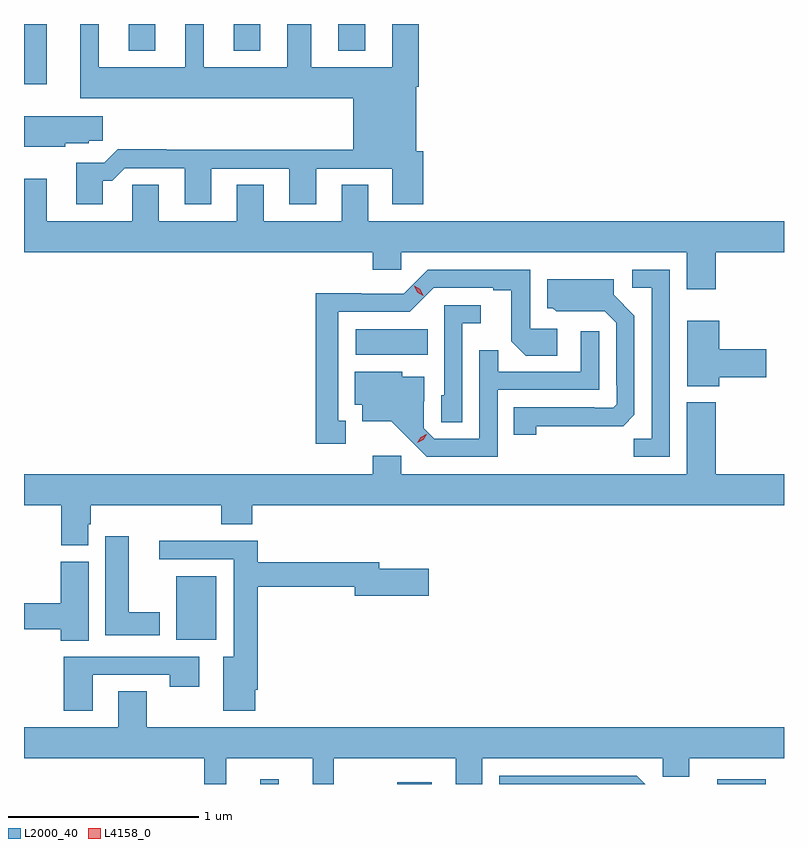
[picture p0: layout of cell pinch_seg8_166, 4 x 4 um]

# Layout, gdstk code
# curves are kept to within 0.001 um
import gdstk
lib = gdstk.Library(unit=1e-6, precision=1e-09)
def R(c, l, rs):  # rectangles x0, y0, x1, y1
    for r in rs: c.add(gdstk.rectangle(r[:2], r[2:], *l))
def A(c, l, x, y, w, h, nx, ny, dx, dy):  # array of equal rectangles
    R(c, l, [(x+i*dx, y+j*dy, x+i*dx+w, y+j*dy+h) for i in range(nx) for j in range(ny)])
def P(c, l, *ps):  # polygons
    for p in ps: c.add(gdstk.Polygon(p, *l))
L2000_40 = (2000, 40)
L4158_0 = (4158, 0)

pinch_seg8_166 = lib.new_cell('pinch_seg8_166')
A(pinch_seg8_166, L2000_40, 707.831, 1158.851, 0.14, 0.142, 3, 1, 0.552, 0)
R(pinch_seg8_166, L2000_40, [(708.524,1154.993,708.621,1155.019), (709.245,1154.993,709.426,1155.001), (710.928,1154.993,711.185,1155.018), (708.08,1155.752,708.292,1156.087), (709.026,1157.252,709.406,1157.386), (707.28,1158.675,707.401,1158.993)])
P(pinch_seg8_166, L2000_40, [(707.695,1158.167),(707.744,1158.167),(707.811,1158.234),(708.125,1158.234),(708.125,1158.045),(708.265,1158.045),(708.265,1158.231),(708.677,1158.231),(708.677,1158.045),(708.817,1158.045),(708.817,1158.231),(709.217,1158.231),(709.217,1158.045),(709.382,1158.045),(709.382,1158.324),(709.345,1158.324),(709.345,1158.662),(709.358,1158.662),(709.358,1158.993),(709.217,1158.993),(709.217,1158.766),(708.793,1158.766),(708.793,1158.993),(708.665,1158.993),(708.665,1158.766),(708.226,1158.766),(708.226,1158.993),(708.128,1158.993),(708.128,1158.766),(707.674,1158.766),(707.674,1158.993),(707.576,1158.993),(707.576,1158.602),(709.013,1158.602),(709.013,1158.332),(708.029,1158.332),(708.029,1158.335),(707.774,1158.335),(707.703,1158.264),(707.555,1158.264),(707.555,1158.045),(707.695,1158.045)],
  [(707.496,1158.365),(707.622,1158.365),(707.622,1158.379),(707.695,1158.379),(707.695,1158.508),(707.28,1158.508),(707.28,1158.347),(707.496,1158.347)],
  [(710.921,1157.792),(711.28,1157.792),(711.28,1157.956),(709.093,1157.956),(709.093,1158.146),(708.953,1158.146),(708.953,1157.956),(708.541,1157.956),(708.541,1158.146),(708.401,1158.146),(708.401,1157.956),(707.989,1157.956),(707.989,1158.146),(707.85,1158.146),(707.85,1157.956),(707.401,1157.956),(707.401,1158.178),(707.28,1158.178),(707.28,1157.792),(709.115,1157.792),(709.115,1157.699),(709.266,1157.699),(709.266,1157.792),(710.768,1157.792),(710.768,1157.598),(710.921,1157.598)],
  [(710.679,1157.7),(710.481,1157.7),(710.481,1157.604),(710.583,1157.604),(710.583,1156.811),(710.488,1156.811),(710.488,1156.716),(710.679,1156.716)],
  [(708.973,1156.905),(708.934,1156.905),(708.934,1157.478),(709.311,1157.478),(709.437,1157.604),(709.751,1157.604),(709.751,1157.592),(709.845,1157.592),(709.845,1157.324),(709.921,1157.248),(710.086,1157.248),(710.086,1157.388),(709.944,1157.388),(709.944,1157.7),(709.404,1157.7),(709.278,1157.574),(709.056,1157.574),(709.056,1157.576),(708.816,1157.576),(708.816,1156.785),(708.973,1156.785)],
  [(709.977,1156.876),(710.434,1156.877),(710.493,1156.936),(710.493,1157.458),(710.383,1157.568),(710.383,1157.65),(710.033,1157.65),(710.033,1157.496),(710.064,1157.496),(710.08,1157.48),(710.337,1157.481),(710.397,1157.421),(710.397,1157.092),(710.4,1157.092),(710.4,1156.992),(710.382,1156.974),(710.282,1156.974),(710.282,1156.977),(709.858,1156.977),(709.858,1156.83),(709.977,1156.83)],
  [(709.587,1157.417),(709.684,1157.417),(709.684,1157.514),(709.491,1157.514),(709.491,1157.04),(709.476,1157.04),(709.476,1156.897),(709.587,1156.897)],
  [(710.938,1157.135),(711.187,1157.135),(711.187,1157.282),(710.938,1157.282),(710.938,1157.431),(710.771,1157.431),(710.771,1157.087),(710.938,1157.087)],
  [(709.773,1157.067),(710.307,1157.067),(710.307,1157.377),(710.211,1157.377),(710.211,1157.163),(709.775,1157.163),(709.775,1157.276),(709.677,1157.276),(709.677,1156.809),(709.44,1156.809),(709.383,1156.866),(709.383,1157.008),(709.387,1157.008),(709.387,1157.137),(709.272,1157.137),(709.272,1157.164),(709.022,1157.164),(709.022,1156.988),(709.061,1156.988),(709.061,1156.901),(709.213,1156.901),(709.4,1156.716),(709.773,1156.716)],
  [(707.617,1156.359),(707.63,1156.359),(707.63,1156.46),(708.317,1156.46),(708.317,1156.361),(708.482,1156.361),(708.482,1156.46),(711.28,1156.46),(711.28,1156.624),(710.921,1156.624),(710.921,1157.002),(710.768,1157.002),(710.768,1156.624),(709.266,1156.624),(709.266,1156.72),(709.115,1156.72),(709.115,1156.624),(707.28,1156.624),(707.28,1156.46),(707.477,1156.46),(707.477,1156.249),(707.617,1156.249)],
  [(707.995,1155.898),(707.83,1155.898),(707.83,1156.297),(707.708,1156.297),(707.708,1155.776),(707.995,1155.776)],
  [(708.496,1155.49),(708.509,1155.49),(708.509,1156.03),(709.022,1156.03),(709.022,1155.983),(709.411,1155.983),(709.411,1156.125),(709.15,1156.125),(709.15,1156.159),(708.509,1156.159),(708.509,1156.274),(707.991,1156.274),(707.991,1156.176),(708.383,1156.176),(708.383,1155.664),(708.329,1155.664),(708.329,1155.378),(708.496,1155.378)],
  [(707.62,1156.164),(707.474,1156.164),(707.474,1155.944),(707.28,1155.944),(707.28,1155.808),(707.474,1155.808),(707.474,1155.748),(707.62,1155.748)],
  [(707.641,1155.567),(708.046,1155.567),(708.046,1155.504),(708.202,1155.504),(708.202,1155.663),(707.489,1155.663),(707.489,1155.378),(707.641,1155.378)],
  [(707.925,1155.482),(707.777,1155.482),(707.777,1155.292),(707.28,1155.292),(707.28,1155.128),(708.229,1155.128),(708.229,1154.993),(708.345,1154.993),(708.345,1155.128),(708.8,1155.128),(708.8,1154.993),(708.91,1154.993),(708.91,1155.128),(709.553,1155.128),(709.553,1154.993),(709.693,1154.993),(709.693,1155.128),(710.643,1155.128),(710.643,1155.03),(710.782,1155.03),(710.782,1155.128),(711.28,1155.128),(711.28,1155.292),(707.925,1155.292)],
  [(710.506,1155.036),(709.782,1155.036),(709.782,1154.993),(710.549,1154.993)])
P(pinch_seg8_166, L4158_0, [(709.351,1156.788),(709.351,1156.789),(709.368,1156.819),(709.398,1156.834),(709.399,1156.834),(709.399,1156.834),(709.382,1156.804),(709.351,1156.788)],
  [(709.382,1157.562),(709.35,1157.582),(709.334,1157.615),(709.334,1157.615),(709.334,1157.615),(709.365,1157.596),(709.382,1157.563),(709.382,1157.562)])

lib.write_gds('pinch_seg8_166.gds')
